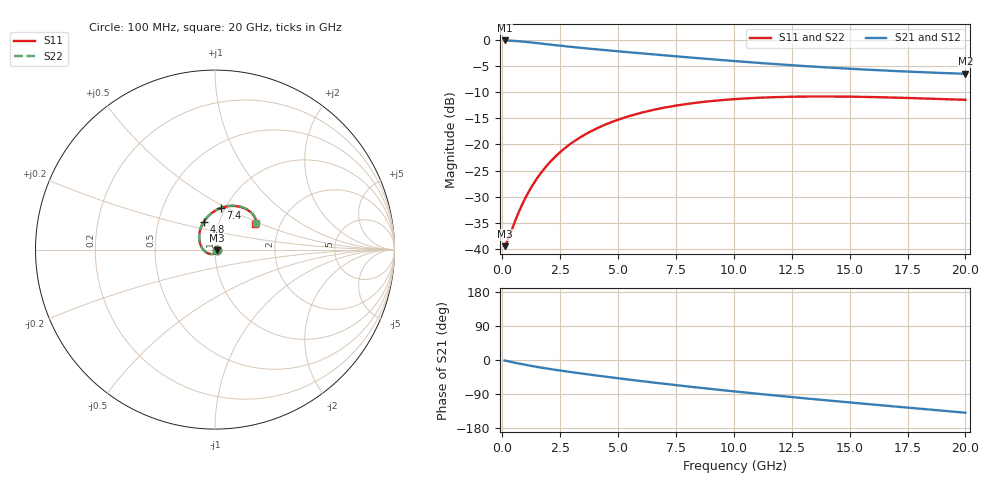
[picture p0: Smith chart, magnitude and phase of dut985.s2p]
! Touchstone file exported from HFSS 2024.1.0
!  File:  C:/UserFiles/LocalFiles/RDL_TSV_Batchsim/temp_RDL_TSV_985_1779974495.aedt
!  Generated:  09:33:10 PM May 28, 2026
!  Design:  RDL_TSV
!  Project:  temp_RDL_TSV_985_1779974495
!  Setup:  Setup1
!  Solution:  Sweep
! Variables:
!  dtsv = 13.94um
!  hbump = 3um
!  htsv = 56.15um
!  ldown = 312.05um
!  lrdl = 248.55um
!  p = 40
!  p1 = 48.26um
!  rhole = 10um
!  subl = 1930.35um
!  t = 450um
!  tdown = 4.06um
!  trdl = 2.38um
!  viad = 10um
!  wdown = 27.97um
!  wrdl = 22.23um
!  xbump = 18um
# GHz S MA R 50.000000
! Terminal data exported
! Port[1] = TM1_1_T1
! Port[2] = TM1_4_T1
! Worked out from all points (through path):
!   200 points, 100 MHz to 20 GHz, reference 50 ohm
!   highest |S21| = -0.09 dB at 100 MHz (marker M1); lowest = -6.5 dB at 20 GHz (marker M2)
!   group delay of S21, straight-line fit = 18.3 ps
!   lowest |S11| = -39.5 dB at 100 MHz (marker M3), VSWR 1.02, Z = 51 - j0.334 ohm
!   |S11| at or under -10 dB: start of sweep to end of sweep
!   |S22| runs from -39.5 to -10.8 dB; largest |S21 - S12| = 9.5e-15
!   S11 on the Smith chart (normalised r, x): 100 MHz: 1.02, -0.01; 4.8 GHz: 0.84, +0.27; 7.4 GHz: 0.95, +0.47; 20 GHz: 1.49, +0.47
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0.1  0.01065 -17.9  0.9892 -1.4  0.9892 -1.4  0.01065 -17.9
! Gamma 0 0 0 0
! Port Impedance 50 0 50 0
0.2  0.01168 -35.2  0.9877 -2.7  0.9877 -2.7  0.01167 -35.2
0.6  0.01967 -89.8  0.9765 -7.9  0.9765 -7.9  0.01966 -89.9
0.9  0.02787 -117.8  0.9642 -11.5  0.9642 -11.5  0.02787 -117.9
1.2  0.03722 -139.4  0.9495 -15.0  0.9495 -15.0  0.03725 -139.5
1.6  0.05097 -162.1  0.9281 -19.3  0.9281 -19.3  0.05105 -162.3
2  0.06563 179.9  0.9066 -23.2  0.9066 -23.2  0.06579 179.8
2.5  0.08453 162.0  0.8811 -27.8  0.8811 -27.8  0.08479 161.9
3  0.1034 147.6  0.8575 -32.2  0.8575 -32.2  0.1038 147.5
3.5  0.1219 135.7  0.8359 -36.3  0.8359 -36.3  0.1224 135.7
4.1  0.1432 123.9  0.812 -41.2  0.812 -41.2  0.1438 123.8
4.8  0.1664 112.3  0.786 -46.6  0.786 -46.6  0.1671 112.3
5.7  0.1931 100.1  0.7548 -53.4  0.7548 -53.4  0.194 100.1
6.8  0.2207 87.9  0.7191 -61.4  0.7191 -61.4  0.2219 87.9
7.4  0.2335 82.2  0.7006 -65.6  0.7006 -65.6  0.2347 82.2
8.7  0.2558 71.5  0.6629 -74.4  0.6629 -74.4  0.2572 71.6
10.1  0.2724 62.1  0.6263 -83.4  0.6263 -83.4  0.2739 62.2
11.7  0.2834 53.5  0.5896 -93.2  0.5896 -93.2  0.285 53.6
13.4  0.2878 46.2  0.5565 -103.0  0.5565 -103.0  0.2894 46.3
15  0.2868 40.9  0.5305 -112.0  0.5305 -112.0  0.2884 41.0
16.7  0.2819 36.7  0.5076 -121.3  0.5076 -121.3  0.2835 36.9
20  0.2676 32.7  0.4743 -139.1  0.4743 -139.1  0.2691 32.9
